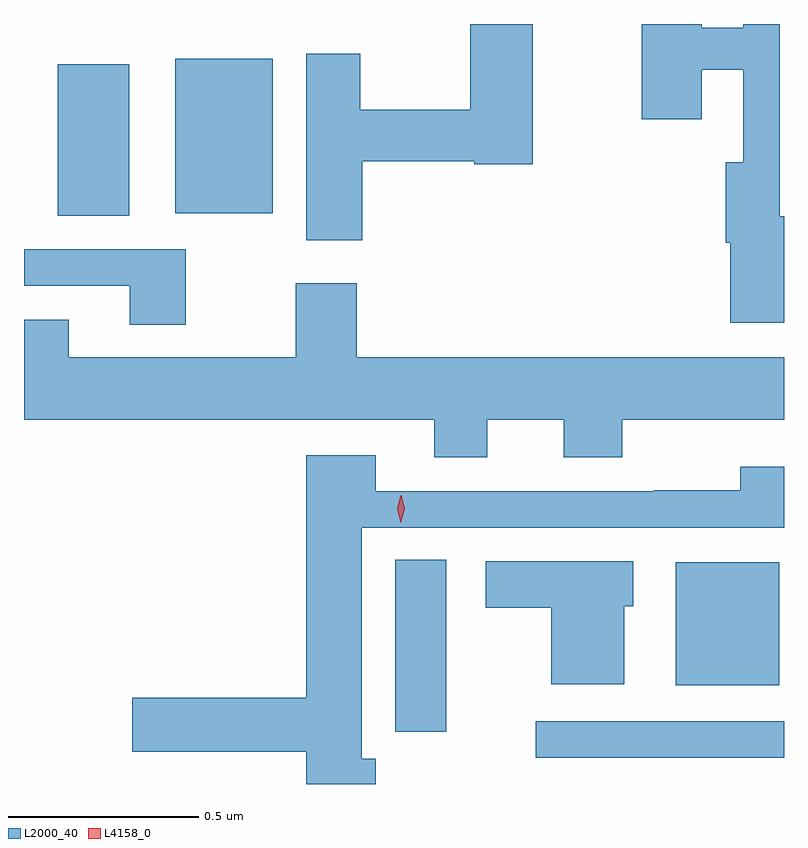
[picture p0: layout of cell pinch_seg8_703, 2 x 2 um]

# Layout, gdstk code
import gdstk
lib = gdstk.Library(unit=1e-6, precision=1e-09)
def R(c, l, rs):  # rectangles x0, y0, x1, y1
    for r in rs: c.add(gdstk.rectangle(r[:2], r[2:], *l))
def P(c, l, *ps):  # polygons
    for p in ps: c.add(gdstk.Polygon(p, *l))
L2000_40 = (2000, 40)
L4158_0 = (4158, 0)

pinch_seg8_703 = lib.new_cell('pinch_seg8_703')
R(pinch_seg8_703, L2000_40, [(244.098,1120.938,244.751,1121.034), (243.728,1121.007,243.862,1121.459), (244.466,1121.129,244.738,1121.452), (242.84,1122.365,243.028,1122.763), (243.149,1122.371,243.406,1122.778)])
P(pinch_seg8_703, L2000_40, [(244.751,1122.363),(244.74,1122.363),(244.74,1122.869),(244.644,1122.869),(244.644,1122.859),(244.534,1122.859),(244.534,1122.869),(244.376,1122.869),(244.376,1122.618),(244.534,1122.618),(244.534,1122.748),(244.644,1122.748),(244.644,1122.505),(244.598,1122.505),(244.598,1122.294),(244.61,1122.294),(244.61,1122.083),(244.751,1122.083)],
  [(243.641,1122.508),(243.936,1122.508),(243.936,1122.5),(244.09,1122.5),(244.09,1122.868),(243.925,1122.868),(243.925,1122.644),(243.636,1122.644),(243.636,1122.791),(243.494,1122.791),(243.494,1122.3),(243.641,1122.3)],
  [(243.177,1122.276),(242.751,1122.276),(242.751,1122.18),(243.029,1122.18),(243.029,1122.078),(243.177,1122.078)],
  [(243.97,1121.828),(244.172,1121.828),(244.172,1121.729),(244.325,1121.729),(244.325,1121.828),(244.751,1121.828),(244.751,1121.992),(243.626,1121.992),(243.626,1122.187),(243.466,1122.187),(243.466,1121.992),(242.869,1121.992),(242.869,1122.091),(242.751,1122.091),(242.751,1121.828),(243.83,1121.828),(243.83,1121.729),(243.97,1121.729)],
  [(243.676,1120.936),(243.64,1120.936),(243.64,1121.544),(244.751,1121.544),(244.751,1121.704),(244.636,1121.704),(244.636,1121.642),(244.408,1121.642),(244.408,1121.64),(243.676,1121.64),(243.676,1121.734),(243.494,1121.734),(243.494,1121.096),(243.036,1121.096),(243.036,1120.954),(243.494,1120.954),(243.494,1120.869),(243.676,1120.869)],
  [(244.33,1121.337),(244.354,1121.337),(244.354,1121.455),(243.966,1121.455),(243.966,1121.333),(244.139,1121.333),(244.139,1121.132),(244.33,1121.132)])
P(pinch_seg8_703, L4158_0, [(243.742,1121.557),(243.733,1121.593),(243.743,1121.629),(243.744,1121.629),(243.744,1121.629),(243.753,1121.593),(243.743,1121.557),(243.743,1121.557)])

lib.write_gds('pinch_seg8_703.gds')
